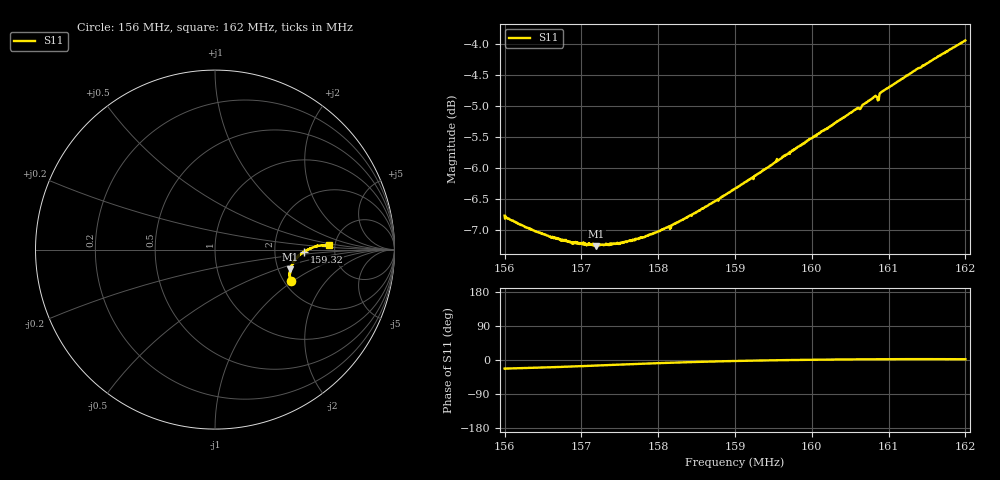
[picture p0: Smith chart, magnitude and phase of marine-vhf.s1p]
! Calibrated averaged scanner-service zoom
# Hz S RI R 50
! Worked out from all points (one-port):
!   1001 points, 156 MHz to 162 MHz, reference 50 ohm
!   lowest |S11| = -7.3 dB at 157.19 MHz (marker M1), VSWR 2.53, Z = 116 - j31.4 ohm
!   |S11| at or under -10 dB: nowhere
!   S11 on the Smith chart (normalised r, x): 156 MHz: 2.17, -0.97; 159.32 MHz: 2.97, -0.09; 162 MHz: 4.45, +0.34
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1.56e8  0.4236 -0.1767
1.56042e8  0.4215 -0.1747
1.56396e8  0.4173 -0.1567
1.5675e8  0.4174 -0.1361
1.56888e8  0.417 -0.1282
1.56942e8  0.4177 -0.1241
1.57194e8  0.4197 -0.1093
1.575e8  0.4257 -0.0923
1.5783e8  0.4351 -0.0736
1.58142e8  0.4463 -0.0578
1.5825e8  0.4503 -0.0528
1.58466e8  0.459 -0.0429
1.58766e8  0.4716 -0.0308
1.59e8  0.4819 -0.0223
1.59318e8  0.4967 -0.012
1.5975e8  0.5178 -0.00028
1.60152e8  0.5372 0.00884
1.605e8  0.5549 0.015
1.60578e8  0.5588 0.0164
1.60638e8  0.5599 0.0177
1.6068e8  0.5639 0.0179
1.60806e8  0.5713 0.0193
1.60848e8  0.5711 0.0202
1.60866e8  0.5708 0.0216
1.60914e8  0.5771 0.021
1.6125e8  0.5946 0.0238
1.61616e8  0.6142 0.0239
1.62e8  0.6345 0.023
